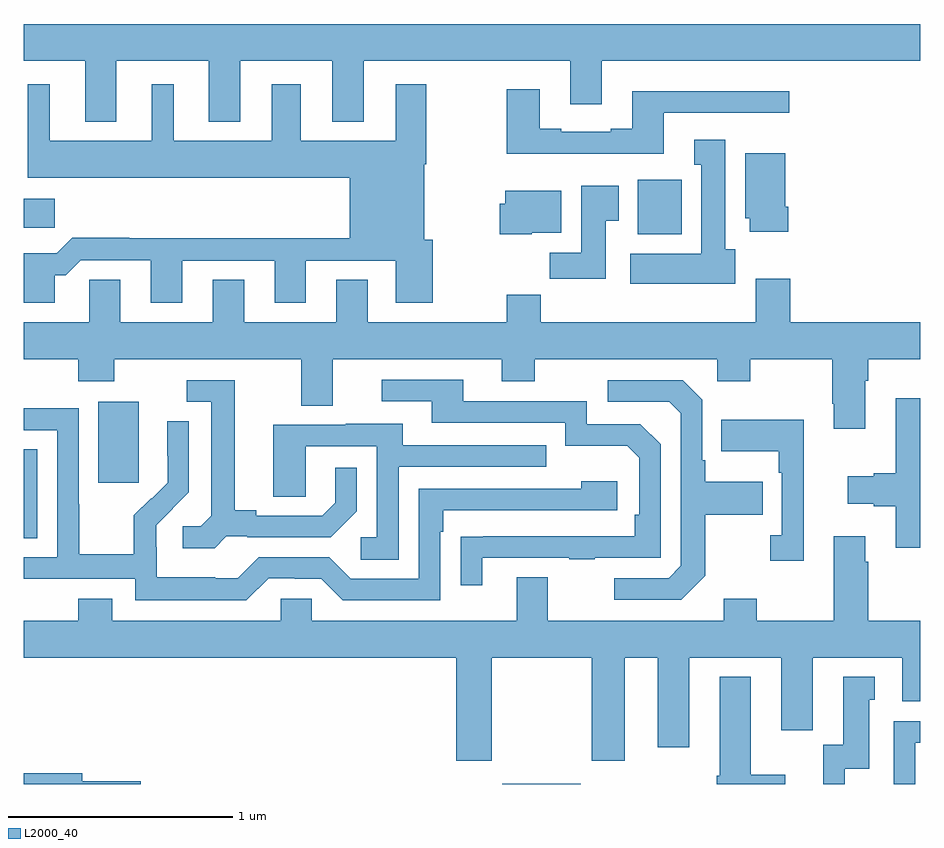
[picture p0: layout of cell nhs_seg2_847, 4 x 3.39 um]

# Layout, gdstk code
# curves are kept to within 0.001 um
import gdstk
lib = gdstk.Library(unit=1e-6, precision=1e-09)
def R(c, l, rs):  # rectangles x0, y0, x1, y1
    for r in rs: c.add(gdstk.rectangle(r[:2], r[2:], *l))
def P(c, l, *ps):  # polygons
    for p in ps: c.add(gdstk.Polygon(p, *l))
L2000_40 = (2000, 40)

nhs_seg2_847 = lib.new_cell('nhs_seg2_847')
R(nhs_seg2_847, L2000_40, [(157.136,585.8,157.486,585.802), (155,586.897,155.059,587.294), (155.333,587.145,155.512,587.506), (157.739,588.254,157.936,588.496), (155,588.283,155.137,588.412)])
P(nhs_seg2_847, L2000_40, [(155.413,589.028),(155.825,589.028),(155.825,588.755),(155.965,588.755),(155.965,589.028),(156.377,589.028),(156.377,588.755),(156.517,588.755),(156.517,589.028),(157.439,589.028),(157.439,588.834),(157.579,588.834),(157.579,589.028),(159,589.028),(159,589.192),(155,589.192),(155,589.028),(155.273,589.028),(155.273,588.755),(155.413,588.755)],
  [(155.137,588.071),(155.186,588.071),(155.253,588.138),(155.567,588.138),(155.567,587.949),(155.707,587.949),(155.707,588.135),(156.119,588.135),(156.119,587.949),(156.259,587.949),(156.259,588.135),(156.659,588.135),(156.659,587.949),(156.824,587.949),(156.824,588.228),(156.787,588.228),(156.787,588.566),(156.795,588.566),(156.795,588.922),(156.659,588.922),(156.659,588.67),(156.235,588.67),(156.235,588.922),(156.107,588.922),(156.107,588.67),(155.668,588.67),(155.668,588.922),(155.57,588.922),(155.57,588.67),(155.116,588.67),(155.116,588.922),(155.018,588.922),(155.018,588.506),(156.455,588.506),(156.455,588.236),(155.471,588.236),(155.471,588.239),(155.216,588.239),(155.146,588.169),(155,588.169),(155,587.949),(155.137,587.949)],
  [(157.855,588.795),(158.416,588.795),(158.416,588.892),(157.715,588.892),(157.715,588.724),(157.619,588.724),(157.619,588.711),(157.399,588.711),(157.399,588.724),(157.303,588.724),(157.303,588.901),(157.156,588.901),(157.156,588.614),(157.855,588.614)],
  [(158.176,588.186),(158.131,588.186),(158.131,588.676),(157.991,588.676),(157.991,588.563),(158.024,588.563),(158.024,588.166),(157.707,588.166),(157.707,588.032),(158.176,588.032)],
  [(158.411,588.376),(158.398,588.376),(158.398,588.616),(158.219,588.616),(158.219,588.324),(158.24,588.324),(158.24,588.264),(158.411,588.264)],
  [(157.597,588.313),(157.654,588.313),(157.654,588.469),(157.487,588.469),(157.487,588.172),(157.348,588.172),(157.348,588.054),(157.597,588.054)],
  [(157.266,588.26),(157.399,588.26),(157.399,588.448),(157.148,588.448),(157.148,588.39),(157.123,588.39),(157.123,588.254),(157.266,588.254)],
  [(158.755,587.6),(158.768,587.6),(158.768,587.696),(159,587.696),(159,587.86),(158.42,587.86),(158.42,588.055),(158.267,588.055),(158.267,587.86),(157.307,587.86),(157.307,587.984),(157.156,587.984),(157.156,587.86),(156.535,587.86),(156.535,588.05),(156.395,588.05),(156.395,587.86),(155.983,587.86),(155.983,588.05),(155.843,588.05),(155.843,587.86),(155.431,587.86),(155.431,588.05),(155.292,588.05),(155.292,587.86),(155,587.86),(155,587.696),(155.243,587.696),(155.243,587.597),(155.403,587.597),(155.403,587.696),(156.239,587.696),(156.239,587.488),(156.379,587.488),(156.379,587.696),(157.133,587.696),(157.133,587.597),(157.281,587.597),(157.281,587.696),(158.094,587.696),(158.094,587.597),(158.241,587.597),(158.241,587.696),(158.608,587.696),(158.608,587.497),(158.615,587.497),(158.615,587.385),(158.755,587.385)],
  [(157.045,586.809),(157.435,586.809),(157.435,586.804),(157.547,586.804),(157.547,586.809),(157.842,586.809),(157.842,587.316),(157.752,587.406),(157.512,587.406),(157.512,587.508),(156.961,587.508),(156.961,587.604),(156.597,587.604),(156.597,587.508),(156.821,587.508),(156.821,587.412),(157.416,587.412),(157.416,587.309),(157.693,587.309),(157.746,587.256),(157.746,587.002),(157.726,587.002),(157.726,586.905),(156.949,586.904),(156.949,586.686),(157.045,586.686)],
  [(158.041,586.729),(158.041,587.002),(158.297,587.002),(158.297,587.149),(158.041,587.149),(158.041,587.245),(158.028,587.245),(158.028,587.514),(157.941,587.601),(157.605,587.601),(157.605,587.505),(157.881,587.505),(157.932,587.454),(157.932,586.773),(157.878,586.719),(157.635,586.719),(157.635,586.623),(157.935,586.623)],
  [(155.904,586.905),(155.998,586.905),(155.998,586.902),(156.37,586.902),(156.486,587.018),(156.486,587.212),(156.389,587.212),(156.389,587.055),(156.332,586.998),(156.037,586.998),(156.037,587.021),(155.941,587.021),(155.941,587.601),(155.727,587.601),(155.727,587.505),(155.837,587.505),(155.837,586.997),(155.79,586.95),(155.709,586.95),(155.709,586.853),(155.852,586.853)],
  [(159,587.521),(158.891,587.521),(158.891,587.186),(158.792,587.186),(158.792,587.173),(158.676,587.173),(158.676,587.051),(158.792,587.051),(158.792,587.039),(158.891,587.039),(158.891,586.854),(159,586.854)],
  [(156.093,586.719),(156.209,586.719),(156.209,586.716),(156.327,586.716),(156.423,586.62),(156.858,586.62),(156.858,586.925),(156.871,586.925),(156.871,587.022),(157.648,587.022),(157.648,587.152),(157.487,587.152),(157.487,587.118),(156.762,587.118),(156.762,586.716),(156.459,586.716),(156.363,586.812),(156.048,586.812),(155.955,586.719),(155.855,586.719),(155.855,586.723),(155.592,586.723),(155.592,586.857),(155.59,586.857),(155.59,586.954),(155.736,587.102),(155.736,587.42),(155.64,587.42),(155.64,587.266),(155.642,587.266),(155.642,587.144),(155.571,587.073),(155.568,587.076),(155.491,586.999),(155.491,586.825),(155.247,586.825),(155.247,587.048),(155.244,587.048),(155.244,587.478),(155,587.478),(155,587.379),(155.148,587.379),(155.148,586.812),(155,586.812),(155,586.716),(155.496,586.716),(155.496,586.619),(155.993,586.619)],
  [(158.48,587.425),(158.113,587.425),(158.113,587.285),(158.37,587.285),(158.37,587.189),(158.382,587.189),(158.382,586.91),(158.331,586.91),(158.331,586.797),(158.48,586.797)],
  [(156.672,587.217),(157.331,587.217),(157.331,587.313),(156.691,587.313),(156.691,587.407),(156.437,587.407),(156.437,587.403),(156.113,587.403),(156.113,587.083),(156.258,587.083),(156.258,587.307),(156.576,587.307),(156.576,586.902),(156.504,586.902),(156.504,586.801),(156.672,586.801)],
  [(156.929,585.903),(157.089,585.903),(157.089,586.364),(157.534,586.364),(157.534,585.903),(157.681,585.903),(157.681,586.364),(157.829,586.364),(157.829,585.963),(157.969,585.963),(157.969,586.364),(158.381,586.364),(158.381,586.041),(158.521,586.041),(158.521,586.364),(158.921,586.364),(158.921,586.17),(159,586.17),(159,586.528),(158.768,586.528),(158.768,586.793),(158.755,586.793),(158.755,586.906),(158.615,586.906),(158.615,586.528),(158.271,586.528),(158.271,586.627),(158.123,586.627),(158.123,586.528),(157.339,586.528),(157.339,586.723),(157.199,586.723),(157.199,586.528),(156.285,586.528),(156.285,586.626),(156.147,586.626),(156.147,586.528),(155.395,586.528),(155.395,586.627),(155.243,586.627),(155.243,586.528),(155,586.528),(155,586.364),(156.929,586.364)],
  [(158.664,585.867),(158.773,585.867),(158.773,586.176),(158.797,586.176),(158.797,586.279),(158.657,586.279),(158.657,585.975),(158.568,585.975),(158.568,585.8),(158.664,585.8)],
  [(158.398,585.841),(158.245,585.841),(158.245,586.279),(158.105,586.279),(158.105,585.837),(158.093,585.837),(158.093,585.8),(158.398,585.8)],
  [(158.979,585.984),(159,585.984),(159,586.08),(158.883,586.08),(158.883,585.8),(158.979,585.8)],
  [(155.521,585.812),(155.26,585.812),(155.26,585.848),(155,585.848),(155,585.8),(155.521,585.8)])

lib.write_gds('nhs_seg2_847.gds')
